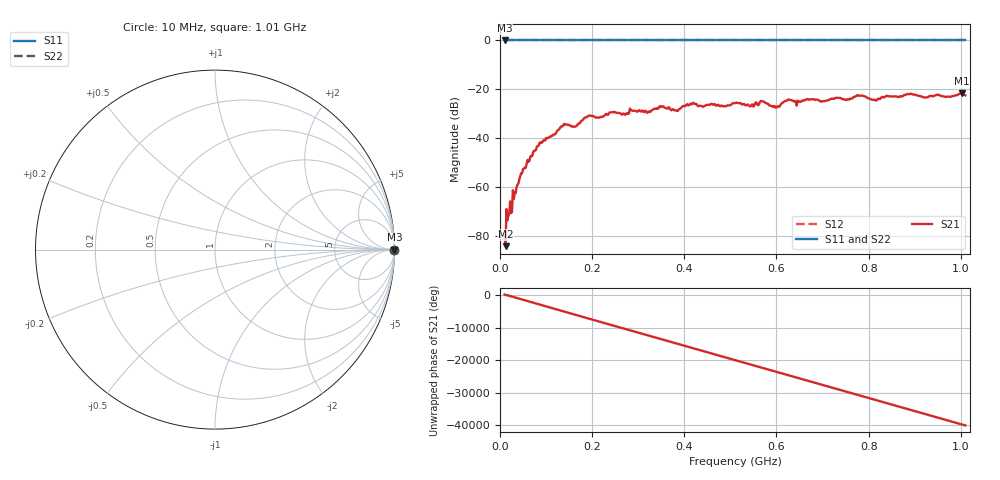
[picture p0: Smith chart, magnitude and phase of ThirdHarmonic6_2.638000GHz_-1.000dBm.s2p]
! 8/17/2025 5:56:39 AM
! C:\ANRITSUVNA\TEMP\TEMP.S2P
! CHANNEL.1
! TR.MEASUREMENT
! RAW.DATA
! RF.CORRECTION.OFF
! AVERAGING.OFF
! IF.BANDWIDTH: 5KHZ
! SWEEPTYPE:  FREQ.SWEEP(Linear)
! Reference Plane Port Info
! PORT:  PORT1  PORT2
! DISTANCE:  0  m  0  m
! TIME:  0  s  0  s
! PHASE.OFFSET:  0  deg.  0  deg.
! LOSS:  0  dB  0  dB
! REF.LOSS:  0  dB  0  dB
! REF.FREQ:  0  Hz  0  Hz
! Power Info
! POWER:  -20  dBm  -20  dBm
! EFF.POWER:  -20  dBm  -20  dBm
! SOURCE.ATTEN:  0  dB  0  dB
! TEST.ATTEN:  0  dB  0  dB
# GHZ S RI R 50.0
! FREQ.GHZ  S11RE  S11IM  S21RE  S21IM  S12RE  S12IM  S22RE  S22IM
!; PortSelection: Port_12
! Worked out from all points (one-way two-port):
!   501 points, 10 MHz to 1.01 GHz, reference 50 ohm
!   highest |S21| = -21.71 dB at 1.002 GHz (marker M1); lowest = -84.3 dB at 12 MHz (marker M2)
!   lowest |S11| = 0.0 dB at 10 MHz (marker M3)
!   |S11| at or under -10 dB: nowhere
!   |S22| runs from 0.0 to 0.0 dB; largest |S21 - S12| = 1.1
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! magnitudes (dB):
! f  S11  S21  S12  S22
! 10 MHz  0.0  -80.1  0.0  0.0
! 12 MHz  0.0  -84.3  0.0  0.0
! 18 MHz  0.0  -71.8  0.0  0.0
! 22 MHz  0.0  -65.9  0.0  0.0
! 46 MHz  0.0  -54.4  0.0  0.0
! 84 MHz  0.0  -43.0  0.0  0.0
! 136 MHz  0.0  -35.1  0.0  0.0
! 162 MHz  0.0  -35.4  0.0  0.0
! 178 MHz  0.0  -32.9  0.0  0.0
! 194 MHz  0.0  -30.7  0.0  0.0
! 344 MHz  0.0  -27.8  0.0  0.0
! 382 MHz  0.0  -28.7  0.0  0.0
! 416 MHz  0.0  -26.2  0.0  0.0
! 510 MHz  0.0  -25.7  0.0  0.0
! 546 MHz  0.0  -26.3  0.0  0.0
! 570 MHz  0.0  -24.9  0.0  0.0
! 602 MHz  0.0  -27.0  0.0  0.0
! 626 MHz  0.0  -24.2  0.0  0.0
! 678 MHz  0.0  -24.0  0.0  0.0
! 844 MHz  0.0  -22.9  0.0  0.0
! 1.002 GHz  0.0  -21.7  0.0  0.0
! 1.01 GHz  0.0  -22.5  0.0  0.0
